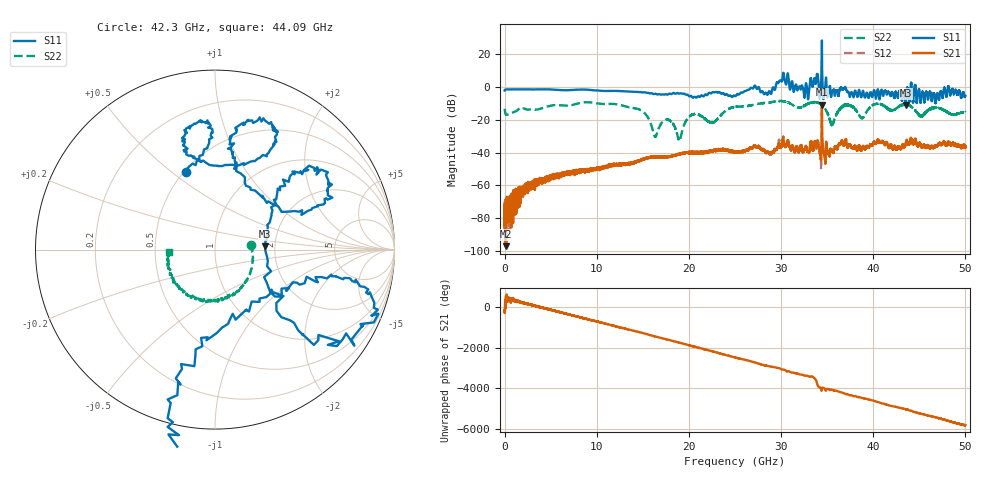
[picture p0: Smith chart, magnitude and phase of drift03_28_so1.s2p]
!Created with skrf (http://scikit-rf.org).
# Hz S RI R 50.0
!freq ReS11 ImS11 ReS21 ImS21 ReS12 ImS12 ReS22 ImS22
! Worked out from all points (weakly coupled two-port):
!   10000 points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, 5.3 MHz to 50 GHz, reference 50 ohm
!   highest |S21| = -10.73 dB at 34.43 GHz (marker M1); lowest = -97.3 dB at 120.3 MHz (marker M2)
!   lowest |S11| = -11.1 dB at 43.52 GHz (marker M3), VSWR 1.77, Z = 88.6 + j3.43 ohm
!   |S11| at or under -10 dB: 43.49821 GHz to 43.54197 GHz (43.76 MHz wide, 0.101 % of centre); 43.54939 GHz to 43.55057 GHz (1.188 MHz wide, 0.00273 % of centre)
!   |S22| runs from -32.9 to -8.4 dB; largest |S21 - S12| = 0.086
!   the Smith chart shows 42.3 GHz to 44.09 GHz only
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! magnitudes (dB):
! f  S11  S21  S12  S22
! 5.3 MHz  -2.1  -72.6  -78.0  -13.3
! 120.3 MHz  -1.5  -97.3  -73.1  -16.6
! 3.05 GHz  -1.4  -59.8  -59.5  -13.4
! 8.34 GHz  -1.5  -51.7  -51.2  -9.5
! 14.53 GHz  -3.1  -45.1  -45.2  -13.5
! 16.67 GHz  -4.4  -42.5  -42.9  -26.0
! 17.8 GHz  -4.2  -42.3  -42.4  -20.0
! 18.98 GHz  -3.9  -41.0  -41.1  -32.9
! 20.28 GHz  -5.5  -40.4  -40.2  -17.0
! 22.56 GHz  -3.1  -39.2  -39.1  -21.7
! 25.01 GHz  -5.5  -39.9  -39.8  -12.1
! 30.14 GHz  4.4  -33.6  -34.0  -8.5
! 33.34 GHz  2.6  -34.7  -35.4  -9.4
! 34.43 GHz  28.5  -10.7  -12.8  -10.9
! 35.52 GHz  -3.6  -38.5  -38.7  -22.6
! 36.95 GHz  0.2  -33.0  -33.4  -11.2
! 38.77 GHz  -5.2  -38.2  -38.0  -19.0
! 40.17 GHz  -3.2  -34.2  -34.0  -10.5
! 41.67 GHz  -3.1  -36.8  -36.8  -13.5
! 43.52 GHz  -11.1  -35.0  -34.9  -10.7
! 45.19 GHz  -7.1  -35.8  -36.2  -17.4
! 50 GHz  -5.3  -37.1  -36.6  -15.5
